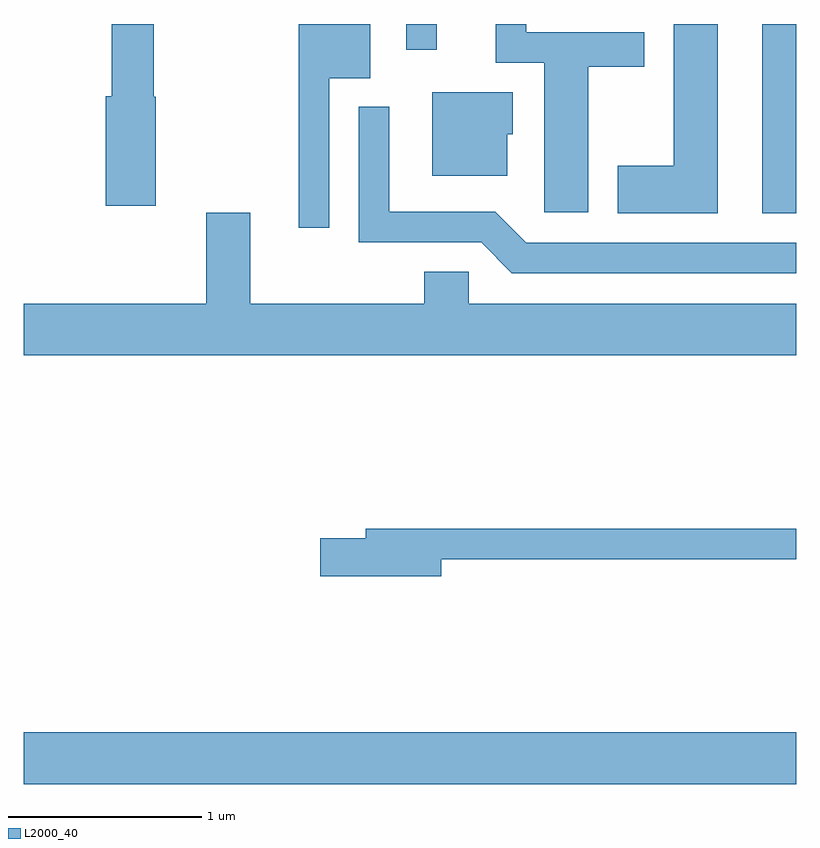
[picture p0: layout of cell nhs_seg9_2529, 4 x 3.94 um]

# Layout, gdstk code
import gdstk
lib = gdstk.Library(unit=1e-6, precision=1e-09)
def R(c, l, rs):  # rectangles x0, y0, x1, y1
    for r in rs: c.add(gdstk.rectangle(r[:2], r[2:], *l))
def P(c, l, *ps):  # polygons
    for p in ps: c.add(gdstk.Polygon(p, *l))
L2000_40 = (2000, 40)

nhs_seg9_2529 = lib.new_cell('nhs_seg9_2529')
R(nhs_seg9_2529, L2000_40, [(259.611,1978.496,263.611,1978.764), (263.436,1981.451,263.611,1982.432), (261.591,1982.298,261.749,1982.432)])
P(nhs_seg9_2529, L2000_40, [(260.294,1982.055),(260.284,1982.055),(260.284,1982.432),(260.066,1982.432),(260.066,1982.059),(260.036,1982.059),(260.036,1981.491),(260.294,1981.491)],
  [(261.194,1982.151),(261.404,1982.151),(261.404,1982.432),(261.036,1982.432),(261.036,1981.378),(261.194,1981.378)],
  [(262.534,1982.211),(262.824,1982.211),(262.824,1982.389),(262.214,1982.389),(262.214,1982.432),(262.056,1982.432),(262.056,1982.231),(262.306,1982.231),(262.306,1981.456),(262.534,1981.456)],
  [(263.204,1982.432),(262.976,1982.432),(262.976,1981.699),(262.686,1981.699),(262.686,1981.451),(263.204,1981.451)],
  [(262.114,1981.861),(262.144,1981.861),(262.144,1982.079),(261.726,1982.079),(261.726,1981.646),(262.114,1981.646)],
  [(263.611,1981.299),(262.212,1981.299),(262.052,1981.459),(261.504,1981.459),(261.504,1982.003),(261.346,1982.003),(261.346,1981.301),(261.979,1981.301),(262.139,1981.141),(263.611,1981.141)],
  [(263.611,1980.984),(261.914,1980.984),(261.914,1981.149),(261.686,1981.149),(261.686,1980.984),(260.784,1980.984),(260.784,1981.454),(260.556,1981.454),(260.556,1980.984),(259.611,1980.984),(259.611,1980.716),(263.611,1980.716)],
  [(261.774,1979.661),(263.611,1979.661),(263.611,1979.819),(261.381,1979.819),(261.381,1979.769),(261.146,1979.769),(261.146,1979.571),(261.774,1979.571)])

lib.write_gds('nhs_seg9_2529.gds')
